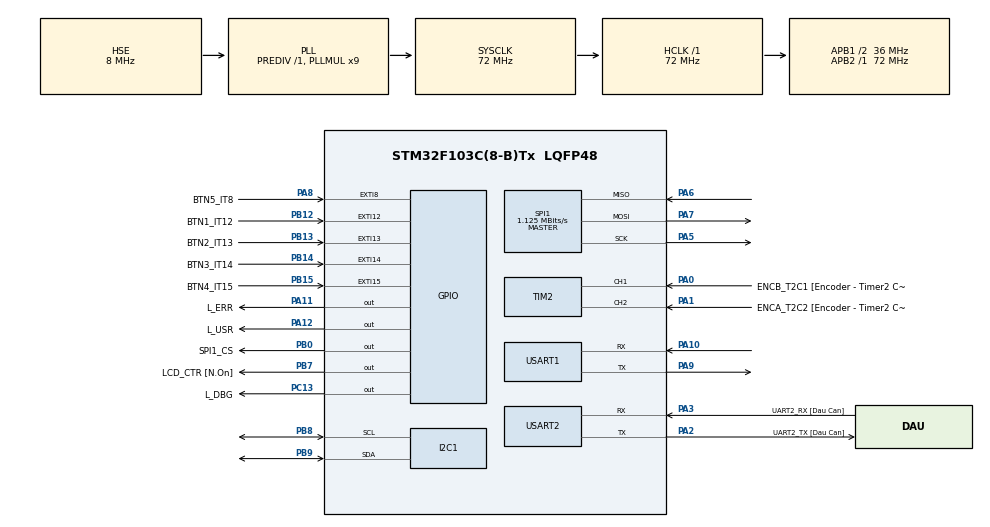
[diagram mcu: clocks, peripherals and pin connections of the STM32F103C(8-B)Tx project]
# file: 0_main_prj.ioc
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FREERTOS.Queues01=myQueue01,8,uint8_t,0,Dynamic,NULL,NULL
FREERTOS.Tasks01=sender1,24,128,StartSender1_Hand,Default,NULL,Dynamic,NULL,NULL;sender2,8,128,StartSender2_Hand,Default,NULL,Dynamic,NULL,NULL;Receive,8,128,StartReceive_Hand,Default,NULL,Dynamic,NULL,NULL
Mcu.Family=STM32F1
Mcu.Name=STM32F103C(8-B)Tx
Mcu.Package=LQFP48
NVIC.EXTI15_10_IRQn=true\:5\:0\:true\:false\:true\:true\:true\:true\:true
NVIC.EXTI9_5_IRQn=true\:5\:0\:true\:false\:true\:true\:true\:true\:true
NVIC.PriorityGroup=NVIC_PRIORITYGROUP_4
NVIC.TIM3_IRQn=true\:15\:0\:false\:false\:true\:false\:false\:true\:true
NVIC.TimeBase=TIM3_IRQn
NVIC.TimeBaseIP=TIM3
NVIC.USART1_IRQn=true\:5\:0\:false\:false\:true\:true\:true\:true\:true
NVIC.USART2_IRQn=true\:5\:0\:false\:false\:true\:true\:true\:true\:true
PA0-WKUP.GPIO_Label=ENCB_T2C1 [Encoder - Timer2 Channel1]
PA0-WKUP.Signal=S_TIM2_CH1_ETR
PA1.GPIO_Label=ENCA_T2C2 [Encoder - Timer2 Channel2]
PA1.Signal=S_TIM2_CH2
PA10.Mode=Asynchronous
PA10.Signal=USART1_RX
PA11.GPIO_Label=L_ERR
PA11.GPIO_PuPd=GPIO_PULLUP
PA11.Signal=GPIO_Output
PA12.GPIO_Label=L_USR
PA12.GPIO_PuPd=GPIO_PULLUP
PA12.Signal=GPIO_Output
PA13.Mode=Serial_Wire
PA13.Signal=SYS_JTMS-SWDIO
PA14.Mode=Serial_Wire
PA14.Signal=SYS_JTCK-SWCLK
PA2.GPIO_Label=UART2_TX [Dau Can]
PA2.Mode=Asynchronous
PA2.Signal=USART2_TX
PA3.GPIO_Label=UART2_RX [Dau Can]
PA3.Mode=Asynchronous
PA3.Signal=USART2_RX
PA5.Mode=Full_Duplex_Master
PA5.Signal=SPI1_SCK
PA6.Mode=Full_Duplex_Master
PA6.Signal=SPI1_MISO
PA7.Mode=Full_Duplex_Master
PA7.Signal=SPI1_MOSI
PA8.GPIO_Label=BTN5_IT8
PA8.GPIO_ModeDefaultEXTI=GPIO_MODE_IT_FALLING
PA8.GPIO_PuPd=GPIO_NOPULL
PA8.Signal=GPXTI8
PA9.Mode=Asynchronous
PA9.Signal=USART1_TX
PB0.GPIO_Label=SPI1_CS
PB0.Signal=GPIO_Output
PB12.GPIO_Label=BTN1_IT12
PB12.GPIO_ModeDefaultEXTI=GPIO_MODE_IT_FALLING
PB12.GPIO_PuPd=GPIO_NOPULL
PB12.Signal=GPXTI12
PB13.GPIO_Label=BTN2_IT13
PB13.GPIO_ModeDefaultEXTI=GPIO_MODE_IT_FALLING
PB13.GPIO_PuPd=GPIO_NOPULL
PB13.Signal=GPXTI13
PB14.GPIO_Label=BTN3_IT14
PB14.GPIO_ModeDefaultEXTI=GPIO_MODE_IT_FALLING
PB14.GPIO_PuPd=GPIO_NOPULL
PB14.Signal=GPXTI14
PB15.GPIO_Label=BTN4_IT15
PB15.GPIO_ModeDefaultEXTI=GPIO_MODE_IT_FALLING
PB15.GPIO_PuPd=GPIO_NOPULL
PB15.Signal=GPXTI15
PB7.GPIO_Label=LCD_CTR [N.On]
PB7.GPIO_PuPd=GPIO_PULLUP
PB7.Signal=GPIO_Output
PB8.Mode=I2C
PB8.Signal=I2C1_SCL
PB9.Mode=I2C
PB9.Signal=I2C1_SDA
PC13-TAMPER-RTC.GPIO_Label=L_DBG
PC13-TAMPER-RTC.GPIO_PuPd=GPIO_PULLUP
PC13-TAMPER-RTC.Signal=GPIO_Output
PC14-OSC32_IN.Mode=LSE-External-Oscillator
PC14-OSC32_IN.Signal=RCC_OSC32_IN
PC15-OSC32_OUT.Mode=LSE-External-Oscillator
PC15-OSC32_OUT.Signal=RCC_OSC32_OUT
PD0-OSC_IN.Mode=HSE-External-Oscillator
PD0-OSC_IN.Signal=RCC_OSC_IN
PD1-OSC_OUT.Mode=HSE-External-Oscillator
PD1-OSC_OUT.Signal=RCC_OSC_OUT
ProjectManager.HeapSize=0x200
ProjectManager.StackSize=0x400
ProjectManager.TargetToolchain=STM32CubeIDE
RCC.AHBFreq_Value=72000000
RCC.APB1CLKDivider=RCC_HCLK_DIV2
RCC.APB1Freq_Value=36000000
RCC.APB1TimFreq_Value=72000000
RCC.APB2Freq_Value=72000000
RCC.APB2TimFreq_Value=72000000
RCC.HCLKFreq_Value=72000000
RCC.PLLMUL=RCC_PLL_MUL9
RCC.PLLSourceVirtual=RCC_PLLSOURCE_HSE
RCC.SYSCLKFreq_VALUE=72000000
RCC.SYSCLKSource=RCC_SYSCLKSOURCE_PLLCLK
RCC.USBFreq_Value=48000000
RCC.USBPrescaler=RCC_USBCLKSOURCE_PLL_DIV1_5
SH.S_TIM2_CH1_ETR.0=TIM2_CH1,Encoder_Interface
SH.S_TIM2_CH2.0=TIM2_CH2,Encoder_Interface
SPI1.BaudRatePrescaler=SPI_BAUDRATEPRESCALER_64
SPI1.CalculateBaudRate=1.125 MBits/s
SPI1.Direction=SPI_DIRECTION_2LINES
SPI1.Mode=SPI_MODE_MASTER
SPI1.VirtualType=VM_MASTER
TIM2.EncoderMode=TIM_ENCODERMODE_TI1
USART1.VirtualMode=VM_ASYNC
USART2.VirtualMode=VM_ASYNC
VP_FREERTOS_VS_CMSIS_V2.Mode=CMSIS_V2
VP_SYS_VS_tim3.Mode=TIM3
VP_TIM1_VS_ClockSourceINT.Mode=Internal
board=custom

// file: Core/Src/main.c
/* USER CODE BEGIN Header */
/**
  ******************************************************************************
  * @file           : main.c
  * @brief          : Main program body
  ******************************************************************************
  * @attention
  *
  * Copyright (c) 2024 STMicroelectronics.
  * All rights reserved.
  *
  * This software is licensed under terms that can be found in the LICENSE file
  * in the root directory of this software component.
  * If no LICENSE file comes with this software, it is provided AS-IS.
  *
  ******************************************************************************
  */
/* USER CODE END Header */
#include "main.h"
#include "cmsis_os.h"

/* USER CODE BEGIN Includes */
#include "stdio.h"
#include "i2c-lcd.h"

/* USER CODE END Includes */

/* USER CODE BEGIN PTD */
#define ADDR_PCF8574 (0x3F << 1)
/* USER CODE END PTD */

/* USER CODE BEGIN PM */
void Init_Sys (void)
{
	HAL_GPIO_WritePin(L_ERR_GPIO_Port, L_ERR_Pin, GPIO_PIN_SET);
	HAL_GPIO_WritePin(L_USR_GPIO_Port, L_USR_Pin, GPIO_PIN_SET);
	HAL_GPIO_WritePin(L_DBG_GPIO_Port, L_DBG_Pin, GPIO_PIN_SET);

	HAL_GPIO_WritePin(LCD_CTR_GPIO_Port, LCD_CTR_Pin, GPIO_PIN_SET);
}
/* USER CODE END PM */

I2C_HandleTypeDef hi2c1;

SPI_HandleTypeDef hspi1;

TIM_HandleTypeDef htim1;
TIM_HandleTypeDef htim2;

UART_HandleTypeDef huart1;
UART_HandleTypeDef huart2;

/* Definitions for sender1 */
osThreadId_t sender1Handle;
const osThreadAttr_t sender1_attributes = {
  .name = "sender1",
  .stack_size = 128 * 4,
  .priority = (osPriority_t) osPriorityNormal,
};
/* Definitions for sender2 */
osThreadId_t sender2Handle;
const osThreadAttr_t sender2_attributes = {
  .name = "sender2",
  .stack_size = 128 * 4,
  .priority = (osPriority_t) osPriorityLow,
};
/* Definitions for Receive */
osThreadId_t ReceiveHandle;
const osThreadAttr_t Receive_attributes = {
  .name = "Receive",
  .stack_size = 128 * 4,
  .priority = (osPriority_t) osPriorityLow,
};
/* Definitions for myQueue01 */
osMessageQueueId_t myQueue01Handle;
const osMessageQueueAttr_t myQueue01_attributes = {
  .name = "myQueue01"
};

void SystemClock_Config(void);
static void MX_GPIO_Init(void);
static void MX_SPI1_Init(void);
static void MX_TIM2_Init(void);
static void MX_USART1_UART_Init(void);
static void MX_TIM1_Init(void);
static void MX_I2C1_Init(void);
static void MX_USART2_UART_Init(void);
void StartSender1_Hand(void *argument);
void StartSender2_Hand(void *argument);
void StartReceive_Hand(void *argument);

/* USER CODE BEGIN PFP */

#if (TEST_UART)
uint8_t rxData = 0;;
uint8_t rxArray[20] = {};
uint8_t rxCounter = 1;

void HAL_UART_RxCpltCallback(UART_HandleTypeDef *huart)
{
	if(&huart1 == huart)
	{

		if(rxData == '\r')
		{
			HAL_UART_Transmit(&huart1, rxArray, strlen((const char *)rxArray), 100);
			for(uint8_t i = 0; i < 20; i++)
			{
				rxArray[i] = 0;
				rxCounter = 0;
			}
		}
		else
		{
			rxArray[rxCounter] = rxData;
			rxCounter++;
		}
		if(rxCounter >= 20)
		{
			rxCounter = 0;
		}
		HAL_UART_Receive_IT(&huart1, &rxData, 1);
	}
	else if(&huart2 == huart)
	{
		if(rxData == '\r')
		{
			HAL_UART_Transmit(&huart2, rxArray, strlen((const char *)rxArray), 100);
			for(uint8_t i = 0; i < 20; i++)
			{
				rxArray[i] = 0;
				rxCounter = 0;
			}
		}
		else
		{
			rxArray[rxCounter] = rxData;
			rxCounter++;
		}
		if(rxCounter >= 20)
		{
			rxCounter = 0;
		}
		HAL_UART_Receive_IT(&huart2, &rxData, 1);
	}

}

void Task_action(char* sms)
{
	HAL_UART_Transmit(&huart1, sms, 1, 100);
	HAL_UART_Transmit(&huart1, "\n", 1, 100);
}
#endif /*TEST_UART*/
/* USER CODE END PFP */

int main(void)
{

  /* USER CODE BEGIN 1 */
	CLCD_I2C_Name LCD1;
  /* USER CODE END 1 */

  /* MCU Configuration--------------------------------------------------------*/

  /* Reset of all peripherals, Initializes the Flash interface and the Systick. */
  HAL_Init();

  /* Configure the system clock */
  SystemClock_Config();

  /* Initialize all configured peripherals */
  MX_GPIO_Init();
  MX_SPI1_Init();
  MX_TIM2_Init();
  MX_USART1_UART_Init();
  MX_TIM1_Init();
  MX_I2C1_Init();
  MX_USART2_UART_Init();
  /* USER CODE BEGIN 2 */
  Init_Sys();

  HAL_GPIO_WritePin(LCD_CTR_GPIO_Port, LCD_CTR_Pin, GPIO_PIN_RESET);

  CLCD_I2C_Init(&LCD1,&hi2c1,ADDR_PCF8574,20,4);
//  LCD_I2C_Init();

#if (TEST_UART)
  HAL_UART_Receive_IT(&huart1, &rxData, 1);
  HAL_UART_Receive_IT(&huart2, &rxData, 1);
#endif

  /* USER CODE END 2 */

  /* Init scheduler */
  osKernelInitialize();

  /* Create the queue(s) */
  /* creation of myQueue01 */
  myQueue01Handle = osMessageQueueNew (8, sizeof(uint8_t), &myQueue01_attributes);

  /* Create the thread(s) */
  /* creation of sender1 */
  sender1Handle = osThreadNew(StartSender1_Hand, NULL, &sender1_attributes);

  /* creation of sender2 */
  sender2Handle = osThreadNew(StartSender2_Hand, NULL, &sender2_attributes);

  /* creation of Receive */
  ReceiveHandle = osThreadNew(StartReceive_Hand, NULL, &Receive_attributes);

  /* Start scheduler */
  osKernelStart();

  /* We should never get here as control is now taken by the scheduler */

  /* Infinite loop */
  /* USER CODE BEGIN WHILE */
  while (1)
  {
#if (TEST_LED)
	  HAL_GPIO_TogglePin(L_ERR_GPIO_Port, L_ERR_Pin);
	  HAL_GPIO_TogglePin(L_DBG_GPIO_Port, L_DBG_Pin);
	  HAL_GPIO_TogglePin(L_USR_GPIO_Port, L_USR_Pin);

	  HAL_Delay(1000);
#endif

#if (TEST_LCD)
	  CLCD_I2C_SetCursor(&LCD1, 0, 0);
	  CLCD_I2C_WriteString(&LCD1, "ThuanLe");

	  CLCD_I2C_SetCursor(&LCD1, 0, 1);
	  CLCD_I2C_WriteString(&LCD1, "21CDTCLC2");

	  CLCD_I2C_SetCursor(&LCD1, 0, 2);
	  CLCD_I2C_WriteString(&LCD1, "GIAM SAT LOI DC");

	  CLCD_I2C_SetCursor(&LCD1, 0, 3);
	  CLCD_I2C_WriteString(&LCD1, "12345678");

	  HAL_Delay(1000);

	  CLCD_I2C_Clear(&LCD1);

#endif

    /* USER CODE END WHILE */

  }
}

void SystemClock_Config(void)
{
  RCC_OscInitTypeDef RCC_OscInitStruct = {0};
  RCC_ClkInitTypeDef RCC_ClkInitStruct = {0};

  /** Initializes the RCC Oscillators according to the specified parameters
  * in the RCC_OscInitTypeDef structure.
  */
  RCC_OscInitStruct.OscillatorType = RCC_OSCILLATORTYPE_HSE;
  RCC_OscInitStruct.HSEState = RCC_HSE_ON;
  RCC_OscInitStruct.HSEPredivValue = RCC_HSE_PREDIV_DIV1;
  RCC_OscInitStruct.HSIState = RCC_HSI_ON;
  RCC_OscInitStruct.PLL.PLLState = RCC_PLL_ON;
  RCC_OscInitStruct.PLL.PLLSource = RCC_PLLSOURCE_HSE;
  RCC_OscInitStruct.PLL.PLLMUL = RCC_PLL_MUL9;
  if (HAL_RCC_OscConfig(&RCC_OscInitStruct) != HAL_OK)
  {
    Error_Handler();
  }

  /** Initializes the CPU, AHB and APB buses clocks
  */
  RCC_ClkInitStruct.ClockType = RCC_CLOCKTYPE_HCLK|RCC_CLOCKTYPE_SYSCLK
                              |RCC_CLOCKTYPE_PCLK1|RCC_CLOCKTYPE_PCLK2;
  RCC_ClkInitStruct.SYSCLKSource = RCC_SYSCLKSOURCE_PLLCLK;
  RCC_ClkInitStruct.AHBCLKDivider = RCC_SYSCLK_DIV1;
  RCC_ClkInitStruct.APB1CLKDivider = RCC_HCLK_DIV2;
  RCC_ClkInitStruct.APB2CLKDivider = RCC_HCLK_DIV1;

  if (HAL_RCC_ClockConfig(&RCC_ClkInitStruct, FLASH_LATENCY_2) != HAL_OK)
  {
    Error_Handler();
  }
}

static void MX_I2C1_Init(void)
{

  hi2c1.Instance = I2C1;
  hi2c1.Init.ClockSpeed = 100000;
  hi2c1.Init.DutyCycle = I2C_DUTYCYCLE_2;
  hi2c1.Init.OwnAddress1 = 0;
  hi2c1.Init.AddressingMode = I2C_ADDRESSINGMODE_7BIT;
  hi2c1.Init.DualAddressMode = I2C_DUALADDRESS_DISABLE;
  hi2c1.Init.OwnAddress2 = 0;
  hi2c1.Init.GeneralCallMode = I2C_GENERALCALL_DISABLE;
  hi2c1.Init.NoStretchMode = I2C_NOSTRETCH_DISABLE;
  if (HAL_I2C_Init(&hi2c1) != HAL_OK)
  {
    Error_Handler();
  }

}

static void MX_SPI1_Init(void)
{

  /* SPI1 parameter configuration*/
  hspi1.Instance = SPI1;
  hspi1.Init.Mode = SPI_MODE_MASTER;
  hspi1.Init.Direction = SPI_DIRECTION_2LINES;
  hspi1.Init.DataSize = SPI_DATASIZE_8BIT;
  hspi1.Init.CLKPolarity = SPI_POLARITY_LOW;
  hspi1.Init.CLKPhase = SPI_PHASE_1EDGE;
  hspi1.Init.NSS = SPI_NSS_SOFT;
  hspi1.Init.BaudRatePrescaler = SPI_BAUDRATEPRESCALER_64;
  hspi1.Init.FirstBit = SPI_FIRSTBIT_MSB;
  hspi1.Init.TIMode = SPI_TIMODE_DISABLE;
  hspi1.Init.CRCCalculation = SPI_CRCCALCULATION_DISABLE;
  hspi1.Init.CRCPolynomial = 10;
  if (HAL_SPI_Init(&hspi1) != HAL_OK)
  {
    Error_Handler();
  }

}

static void MX_TIM1_Init(void)
{

  TIM_ClockConfigTypeDef sClockSourceConfig = {0};
  TIM_MasterConfigTypeDef sMasterConfig = {0};

  htim1.Instance = TIM1;
  htim1.Init.Prescaler = 0;
  htim1.Init.CounterMode = TIM_COUNTERMODE_UP;
  htim1.Init.Period = 65535;
  htim1.Init.ClockDivision = TIM_CLOCKDIVISION_DIV1;
  htim1.Init.RepetitionCounter = 0;
  htim1.Init.AutoReloadPreload = TIM_AUTORELOAD_PRELOAD_DISABLE;
  if (HAL_TIM_Base_Init(&htim1) != HAL_OK)
  {
    Error_Handler();
  }
  sClockSourceConfig.ClockSource = TIM_CLOCKSOURCE_INTERNAL;
  if (HAL_TIM_ConfigClockSource(&htim1, &sClockSourceConfig) != HAL_OK)
  {
    Error_Handler();
  }
  sMasterConfig.MasterOutputTrigger = TIM_TRGO_RESET;
  sMasterConfig.MasterSlaveMode = TIM_MASTERSLAVEMODE_DISABLE;
  if (HAL_TIMEx_MasterConfigSynchronization(&htim1, &sMasterConfig) != HAL_OK)
  {
    Error_Handler();
  }

}

static void MX_TIM2_Init(void)
{

  TIM_Encoder_InitTypeDef sConfig = {0};
  TIM_MasterConfigTypeDef sMasterConfig = {0};

  htim2.Instance = TIM2;
  htim2.Init.Prescaler = 0;
  htim2.Init.CounterMode = TIM_COUNTERMODE_UP;
  htim2.Init.Period = 65535;
  htim2.Init.ClockDivision = TIM_CLOCKDIVISION_DIV1;
  htim2.Init.AutoReloadPreload = TIM_AUTORELOAD_PRELOAD_DISABLE;
  sConfig.EncoderMode = TIM_ENCODERMODE_TI1;
  sConfig.IC1Polarity = TIM_ICPOLARITY_RISING;
  sConfig.IC1Selection = TIM_ICSELECTION_DIRECTTI;
  sConfig.IC1Prescaler = TIM_ICPSC_DIV1;
  sConfig.IC1Filter = 0;
  sConfig.IC2Polarity = TIM_ICPOLARITY_RISING;
  sConfig.IC2Selection = TIM_ICSELECTION_DIRECTTI;
  sConfig.IC2Prescaler = TIM_ICPSC_DIV1;
  sConfig.IC2Filter = 0;
  if (HAL_TIM_Encoder_Init(&htim2, &sConfig) != HAL_OK)
  {
    Error_Handler();
  }
  sMasterConfig.MasterOutputTrigger = TIM_TRGO_RESET;
  sMasterConfig.MasterSlaveMode = TIM_MASTERSLAVEMODE_DISABLE;
  if (HAL_TIMEx_MasterConfigSynchronization(&htim2, &sMasterConfig) != HAL_OK)
  {
    Error_Handler();
  }

}

static void MX_USART1_UART_Init(void)
{

  huart1.Instance = USART1;
  huart1.Init.BaudRate = 115200;
  huart1.Init.WordLength = UART_WORDLENGTH_8B;
  huart1.Init.StopBits = UART_STOPBITS_1;
  huart1.Init.Parity = UART_PARITY_NONE;
  huart1.Init.Mode = UART_MODE_TX_RX;
  huart1.Init.HwFlowCtl = UART_HWCONTROL_NONE;
  huart1.Init.OverSampling = UART_OVERSAMPLING_16;
  if (HAL_UART_Init(&huart1) != HAL_OK)
  {
    Error_Handler();
  }

}

static void MX_USART2_UART_Init(void)
{

  huart2.Instance = USART2;
  huart2.Init.BaudRate = 115200;
  huart2.Init.WordLength = UART_WORDLENGTH_8B;
  huart2.Init.StopBits = UART_STOPBITS_1;
  huart2.Init.Parity = UART_PARITY_NONE;
  huart2.Init.Mode = UART_MODE_TX_RX;
  huart2.Init.HwFlowCtl = UART_HWCONTROL_NONE;
  huart2.Init.OverSampling = UART_OVERSAMPLING_16;
  if (HAL_UART_Init(&huart2) != HAL_OK)
  {
    Error_Handler();
  }

}

static void MX_GPIO_Init(void)
{
  GPIO_InitTypeDef GPIO_InitStruct = {0};

  /* GPIO Ports Clock Enable */
  __HAL_RCC_GPIOC_CLK_ENABLE();
  __HAL_RCC_GPIOD_CLK_ENABLE();
  __HAL_RCC_GPIOA_CLK_ENABLE();
  __HAL_RCC_GPIOB_CLK_ENABLE();

  /*Configure GPIO pin Output Level */
  HAL_GPIO_WritePin(L_DBG_GPIO_Port, L_DBG_Pin, GPIO_PIN_RESET);

  /*Configure GPIO pin Output Level */
  HAL_GPIO_WritePin(GPIOB, SPI1_CS_Pin|LCD_CTR_Pin, GPIO_PIN_RESET);

  /*Configure GPIO pin Output Level */
  HAL_GPIO_WritePin(GPIOA, L_ERR_Pin|L_USR_Pin, GPIO_PIN_RESET);

  /*Configure GPIO pin : L_DBG_Pin */
  GPIO_InitStruct.Pin = L_DBG_Pin;
  GPIO_InitStruct.Mode = GPIO_MODE_OUTPUT_PP;
  GPIO_InitStruct.Pull = GPIO_PULLUP;
  GPIO_InitStruct.Speed = GPIO_SPEED_FREQ_LOW;
  HAL_GPIO_Init(L_DBG_GPIO_Port, &GPIO_InitStruct);

  /*Configure GPIO pin : SPI1_CS_Pin */
  GPIO_InitStruct.Pin = SPI1_CS_Pin;
  GPIO_InitStruct.Mode = GPIO_MODE_OUTPUT_PP;
  GPIO_InitStruct.Pull = GPIO_NOPULL;
  GPIO_InitStruct.Speed = GPIO_SPEED_FREQ_LOW;
  HAL_GPIO_Init(SPI1_CS_GPIO_Port, &GPIO_InitStruct);

  /*Configure GPIO pins : BTN1_IT12_Pin BTN2_IT13_Pin BTN3_IT14_Pin BTN4_IT15_Pin */
  GPIO_InitStruct.Pin = BTN1_IT12_Pin|BTN2_IT13_Pin|BTN3_IT14_Pin|BTN4_IT15_Pin;
  GPIO_InitStruct.Mode = GPIO_MODE_IT_FALLING;
  GPIO_InitStruct.Pull = GPIO_NOPULL;
  HAL_GPIO_Init(GPIOB, &GPIO_InitStruct);

  /*Configure GPIO pin : BTN5_IT8_Pin */
  GPIO_InitStruct.Pin = BTN5_IT8_Pin;
  GPIO_InitStruct.Mode = GPIO_MODE_IT_FALLING;
  GPIO_InitStruct.Pull = GPIO_NOPULL;
  HAL_GPIO_Init(BTN5_IT8_GPIO_Port, &GPIO_InitStruct);

  /*Configure GPIO pins : L_ERR_Pin L_USR_Pin */
  GPIO_InitStruct.Pin = L_ERR_Pin|L_USR_Pin;
  GPIO_InitStruct.Mode = GPIO_MODE_OUTPUT_PP;
  GPIO_InitStruct.Pull = GPIO_PULLUP;
  GPIO_InitStruct.Speed = GPIO_SPEED_FREQ_LOW;
  HAL_GPIO_Init(GPIOA, &GPIO_InitStruct);

  /*Configure GPIO pin : LCD_CTR_Pin */
  GPIO_InitStruct.Pin = LCD_CTR_Pin;
  GPIO_InitStruct.Mode = GPIO_MODE_OUTPUT_PP;
  GPIO_InitStruct.Pull = GPIO_PULLUP;
  GPIO_InitStruct.Speed = GPIO_SPEED_FREQ_LOW;
  HAL_GPIO_Init(LCD_CTR_GPIO_Port, &GPIO_InitStruct);

  /* EXTI interrupt init*/
  HAL_NVIC_SetPriority(EXTI9_5_IRQn, 5, 0);
  HAL_NVIC_EnableIRQ(EXTI9_5_IRQn);

  HAL_NVIC_SetPriority(EXTI15_10_IRQn, 5, 0);
  HAL_NVIC_EnableIRQ(EXTI15_10_IRQn);

}

void StartSender1_Hand(void *argument)
{
  /* USER CODE BEGIN 5 */
	uint8_t x = 1;
  /* Infinite loop */
  for(;;)
  {
	  Task_action("s");
	  osMessageQueuePut(myQueue01Handle, &x, 0, 200);
	  osDelay(2000);
  }
  /* USER CODE END 5 */
}

void StartSender2_Hand(void *argument)
{
  /* USER CODE BEGIN StartSender2_Hand */
	uint8_t x = 2;
  /* Infinite loop */
  for(;;)
  {
	  Task_action("S");
	  osMessageQueuePut(myQueue01Handle, &x, 0, 200);
	  osDelay(2000);
  }
  /* USER CODE END StartSender2_Hand */
}

void StartReceive_Hand(void *argument)
{
  /* USER CODE BEGIN StartReceive_Hand */
	uint8_t res = 0;
	uint8_t char_send = 0;
  /* Infinite loop */
  for(;;)
  {
	  Task_action("R");
	  if(osMessageQueueGet(myQueue01Handle, &res, NULL, 4000) == osOK)
	  {
		  char_send = res + 48;
		  Task_action((char *)(&char_send));
	  }
	  osDelay(2000);
  }
  /* USER CODE END StartReceive_Hand */
}

void HAL_TIM_PeriodElapsedCallback(TIM_HandleTypeDef *htim)
{
  if (htim->Instance == TIM3) {
    HAL_IncTick();
  }
}

void Error_Handler(void)
{
  __disable_irq();
  while (1)
  {
  }
}
